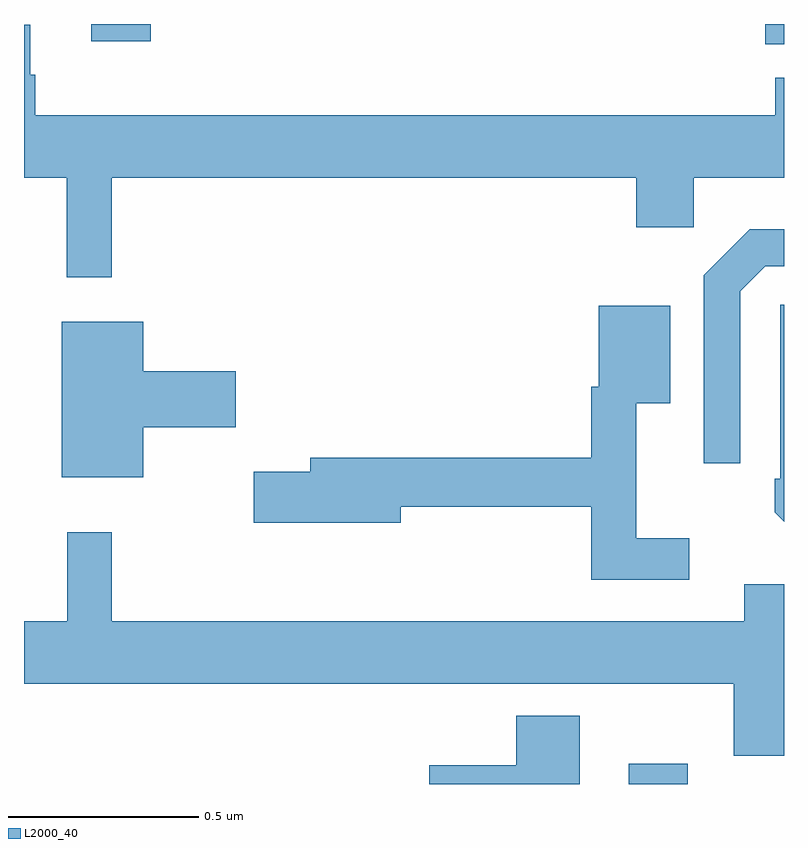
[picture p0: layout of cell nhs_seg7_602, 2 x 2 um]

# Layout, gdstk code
import gdstk
lib = gdstk.Library(unit=1e-6, precision=1e-09)
def R(c, l, rs):  # rectangles x0, y0, x1, y1
    for r in rs: c.add(gdstk.rectangle(r[:2], r[2:], *l))
def P(c, l, *ps):  # polygons
    for p in ps: c.add(gdstk.Polygon(p, *l))
L2000_40 = (2000, 40)

nhs_seg7_602 = lib.new_cell('nhs_seg7_602')
R(nhs_seg7_602, L2000_40, [(120.591,1019,120.747,1019.053), (120.95,1020.947,121,1021), (119.177,1020.954,119.333,1021)])
P(nhs_seg7_602, L2000_40, [(119.231,1020.596),(120.611,1020.596),(120.611,1020.465),(120.762,1020.465),(120.762,1020.596),(121,1020.596),(121,1020.859),(120.977,1020.859),(120.977,1020.76),(119.03,1020.76),(119.03,1020.866),(119.017,1020.866),(119.017,1020.998),(119,1020.998),(119,1020.596),(119.113,1020.596),(119.113,1020.333),(119.231,1020.333)],
  [(120.885,1020.297),(120.951,1020.363),(121,1020.363),(121,1020.46),(120.91,1020.46),(120.789,1020.339),(120.789,1019.844),(120.885,1019.844)],
  [(121,1020.261),(120.99,1020.261),(120.99,1019.803),(120.975,1019.803),(120.975,1019.715),(121,1019.69)],
  [(120.751,1019.647),(120.611,1019.647),(120.611,1020.002),(120.7,1020.002),(120.7,1020.259),(120.512,1020.259),(120.512,1020.045),(120.493,1020.045),(120.493,1019.858),(119.753,1019.858),(119.753,1019.822),(119.604,1019.822),(119.604,1019.687),(119.992,1019.687),(119.992,1019.73),(120.493,1019.73),(120.493,1019.538),(120.751,1019.538)],
  [(119.314,1019.939),(119.557,1019.939),(119.557,1020.086),(119.314,1020.086),(119.314,1020.217),(119.099,1020.217),(119.099,1019.807),(119.314,1019.807)],
  [(121,1019.526),(120.896,1019.526),(120.896,1019.428),(119.231,1019.428),(119.231,1019.662),(119.114,1019.662),(119.114,1019.428),(119,1019.428),(119,1019.264),(120.868,1019.264),(120.868,1019.074),(121,1019.074)],
  [(120.463,1019.179),(120.296,1019.179),(120.296,1019.05),(120.066,1019.05),(120.066,1019),(120.463,1019)])

lib.write_gds('nhs_seg7_602.gds')
